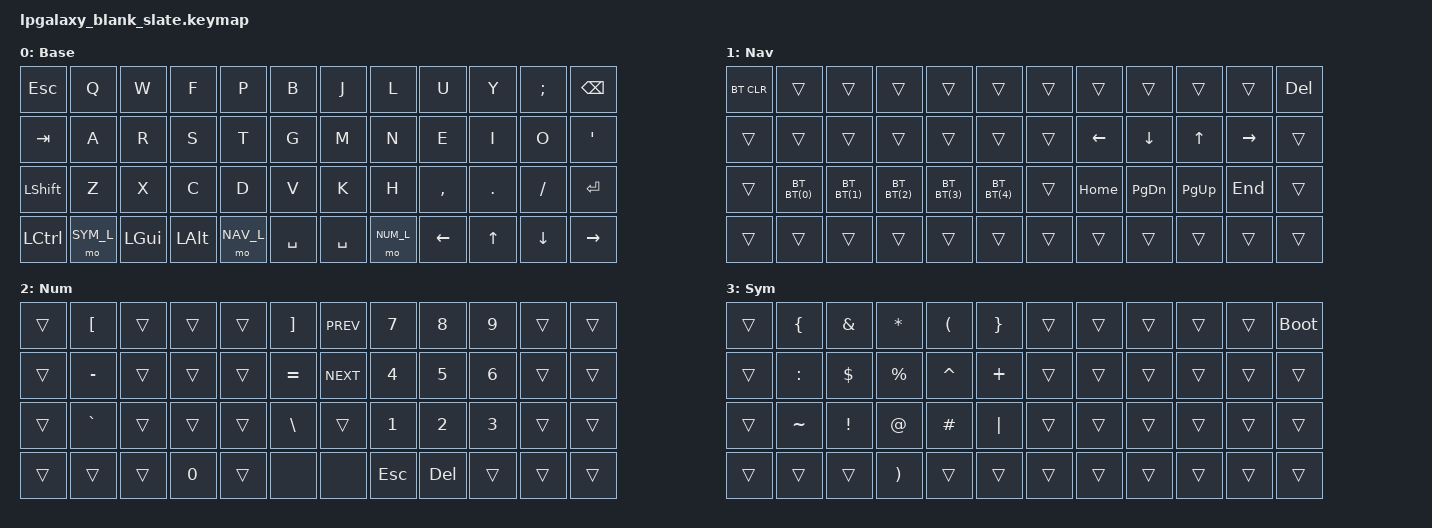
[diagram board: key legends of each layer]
/*
 * Copyright (c) 2022 Pete Johanson
 *
 * SPDX-License-Identifier: MIT
 */

#include <behaviors.dtsi>
#include <dt-bindings/zmk/keys.h>
#include <dt-bindings/zmk/bt.h>
#include <dt-bindings/zmk/outputs.h>

#include "mods.dtsi"

#define TBLE_ORTHO   1

#define NAV_L 1
#define NUM_L 2
#define SYM_L 3

// Using layer taps on thumbs, having quick tap as well helps w/ repeating space/backspace
&lt { quick_tap_ms = <200>; };

#define BT(n) BT_SEL n

/ {
    chosen {
       zmk,matrix_transform = &ortho_transform;
    };

    macros {
      ZMK_MACRO(thumbs_up,
		wait-ms = <1>;
		tap-ms = <5>;
                bindings = <&kp PLUS &kp COLON &kp PLUS &kp N1 &kp COLON &kp RET>;
		)
    };
    
    tap_dances {
    	shifty: shift_caps_word {
		compatible = "zmk,behavior-tap-dance";
		label = "TD_SHIFTY";
		#binding-cells = <0>;
		tapping-term-ms = <150>;
		bindings = <&kp LSHFT>, <&caps_word>;
	};
    };

    keymap {
        compatible = "zmk,keymap";

        base_layer {
            label = "Base";
            bindings = <
 &kp ESC    &kp Q      &kp W      &kp F       &kp P          &kp B          &kp J            &kp L          &kp U       &kp Y      &kp SEMI      &kp BKSP
 &kp TAB    &kp A      &kp R      &kp S       &kp T          &kp G          &kp M            &kp N          &kp E       &kp I      &kp O         &kp QUOT
 &kp LSHFT  &kp Z      &kp X      &kp C       &kp D          &kp V          &kp K            &kp H          &kp COMMA   &kp DOT    &kp SLASH      &kp RET
 &kp LCTRL  &mo SYM_L   &kp LGUI  &kp LALT    &mo NAV_L      &kp SPACE      &kp SPACE          &mo NUM_L      &kp LEFT    &kp UP     &kp DOWN      &kp RIGHT
            >;
        };

        nav_layer {
            label = "Nav";
            bindings = <
&bt BT_CLR &trans     &trans     &trans      &trans          &trans       &trans     &trans         &trans      &trans     &trans     &kp DEL
&trans     &trans     &trans     &trans      &trans          &trans       &trans     &kp LEFT       &kp DOWN    &kp UP     &kp RIGHT  &trans
&trans     &bt BT(0)  &bt BT(1)  &bt BT(2)   &bt BT(3)       &bt BT(4)    &trans     &kp HOME       &kp PG_DN   &kp PG_UP  &kp END    &trans
&trans  &trans        &trans     &trans      &trans          &trans       &trans    &trans  &trans         &trans &trans &trans            >;
        };

        num_layer {
            label = "Num";
            bindings = <
&trans     &kp LBKT   &trans &trans &trans    &kp RBKT    &kp C_PREV    &kp N7     &kp N8      &kp N9       &trans     &trans
&trans     &kp MINUS  &trans &trans &trans    &kp EQUAL   &kp C_NEXT    &kp N4     &kp N5      &kp N6       &trans     &trans
&trans     &kp GRAVE  &trans &trans &trans    &kp BSLH    &trans        &kp N1     &kp N2      &kp N3       &trans     &trans
&trans  &trans       &trans     &kp N0      &trans    &none         &none     &kp ESC        &kp DEL      &trans &trans &trans
            >;
        };

        sym_layer {
            label = "Sym";
            bindings = <
&trans     &kp LBRC   &kp AMPS   &kp STAR    &kp LPAR     &kp RBRC     &trans     &trans    &trans       &trans       &trans     &bootloader
&trans     &kp COLON  &kp DLLR   &kp PRCNT   &kp CARET    &kp PLUS     &trans     &trans    &trans       &trans       &trans     &trans
&trans     &kp TILDE  &kp EXCL   &kp AT      &kp HASH     &kp PIPE     &trans     &trans    &trans       &trans       &trans     &trans
&trans &trans        &trans     &kp RPAR        &trans          &trans       &trans    &trans  &trans         &trans &trans &trans
            >;
        };
    };
};

